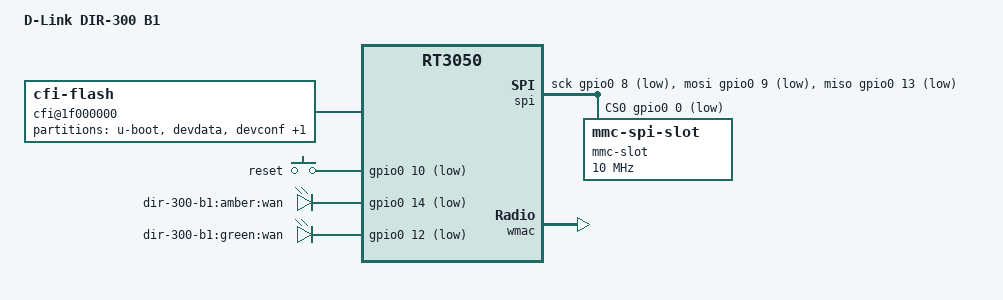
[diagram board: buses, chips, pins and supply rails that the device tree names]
/dts-v1/;

#include "rt3050.dtsi"

#include <dt-bindings/gpio/gpio.h>
#include <dt-bindings/input/input.h>

/ {
	compatible = "dlink,dir-300-b1", "ralink,rt3050-soc";
	model = "D-Link DIR-300 B1";

	aliases {
		led-boot = &led_status_green;
		led-failsafe = &led_status_green;
		led-running = &led_status_green;
		led-upgrade = &led_status_green;
	};

	cfi@1f000000 {
		compatible = "cfi-flash";
		reg = <0x1f000000 0x800000>;
		bank-width = <2>;
		device-width = <2>;

		partitions {
			compatible = "fixed-partitions";
			#address-cells = <1>;
			#size-cells = <1>;

			partition@0 {
				label = "u-boot";
				reg = <0x0 0x30000>;
				read-only;
			};

			devdata: partition@30000 {
				label = "devdata";
				reg = <0x30000 0x10000>;
				read-only;
			};

			partition@40000 {
				label = "devconf";
				reg = <0x40000 0x10000>;
				read-only;
			};

			partition@50000 {
				compatible = "denx,uimage";
				label = "firmware";
				reg = <0x50000 0x3b0000>;
			};
		};
	};

	keys {
		compatible = "gpio-keys-polled";
		poll-interval = <20>;

		reset {
			label = "reset";
			gpios = <&gpio0 10 GPIO_ACTIVE_LOW>;
			linux,code = <KEY_RESTART>;
		};
	};

	leds {
		compatible = "gpio-leds";

		wan {
			label = "dir-300-b1:amber:wan";
			gpios = <&gpio0 14 GPIO_ACTIVE_LOW>;
		};

		wan2 {
			label = "dir-300-b1:green:wan";
			gpios = <&gpio0 12 GPIO_ACTIVE_LOW>;
		};
	};

	spi {
		compatible = "spi-gpio";
		#address-cells = <0x1>;
		ranges;

		gpio-sck  = <&gpio0  8 GPIO_ACTIVE_LOW>;
		gpio-miso = <&gpio0 13 GPIO_ACTIVE_LOW>;
		gpio-mosi = <&gpio0  9 GPIO_ACTIVE_LOW>;
		cs-gpios  = <&gpio0  0 GPIO_ACTIVE_LOW>;
		num-chipselects = <1>;

		mmc-slot@0 {
			compatible = "mmc-spi-slot";
			reg = <0>;
			voltage-ranges = <3300 3300>;
			spi-max-frequency = <10000000>;
                };
        };
};

&state_default {
	gpio {
		ralink,group = "i2c", "spi", "jtag", "mdio", "rgmii", "uartf";
		ralink,function = "gpio";
	};
};

&ethernet {
	mtd-mac-address = <&devdata 0x4004>;
};

&esw {
	mediatek,portmap = <0x2f>;
};

&wmac {
	ralink,mtd-eeprom = <&devdata 0x4000>;
};
